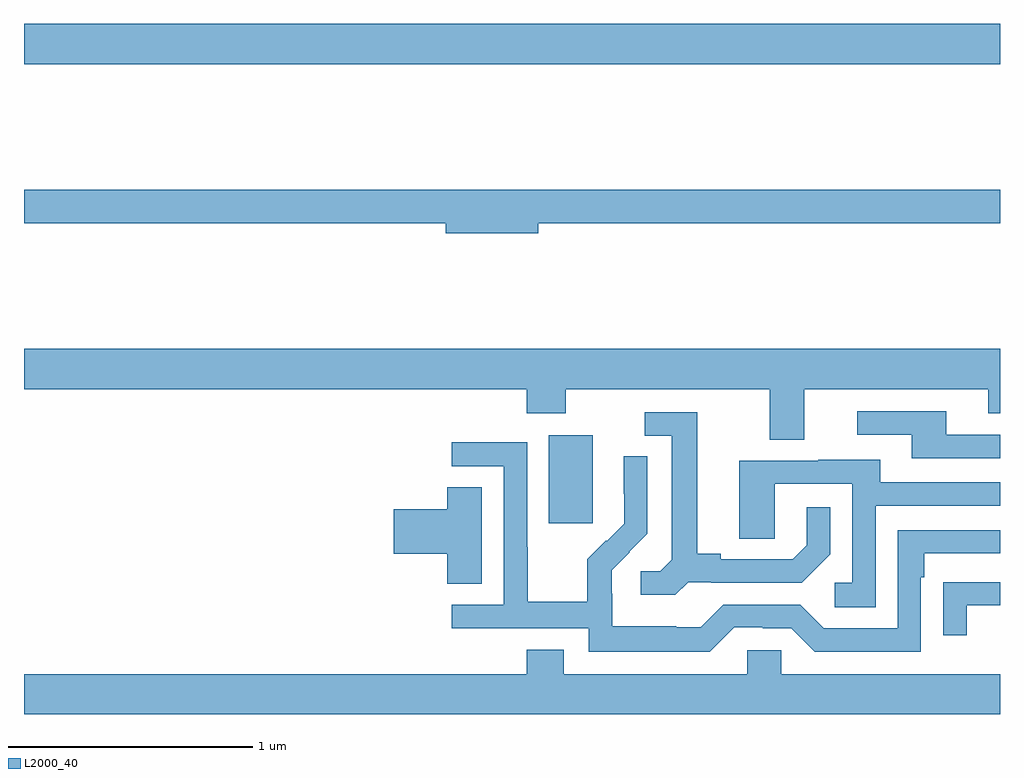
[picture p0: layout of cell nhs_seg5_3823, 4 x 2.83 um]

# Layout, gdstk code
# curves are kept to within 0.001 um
import gdstk
lib = gdstk.Library(unit=1e-6, precision=1e-09)
def R(c, l, rs):  # rectangles x0, y0, x1, y1
    for r in rs: c.add(gdstk.rectangle(r[:2], r[2:], *l))
def P(c, l, *ps):  # polygons
    for p in ps: c.add(gdstk.Polygon(p, *l))
L2000_40 = (2000, 40)

nhs_seg5_3823 = lib.new_cell('nhs_seg5_3823')
R(nhs_seg5_3823, L2000_40, [(337.151,904.161,337.33,904.522), (335,906.044,339,906.208)])
P(nhs_seg5_3823, L2000_40, [(337.108,905.392),(339,905.392),(339,905.528),(335,905.528),(335,905.392),(336.728,905.392),(336.728,905.35),(337.108,905.35)],
  [(338.197,904.712),(338.951,904.712),(338.951,904.613),(339,904.613),(339,904.876),(335,904.876),(335,904.712),(337.061,904.712),(337.061,904.613),(337.221,904.613),(337.221,904.712),(338.057,904.712),(338.057,904.504),(338.197,904.504)],
  [(339,904.524),(338.779,904.524),(338.779,904.62),(338.415,904.62),(338.415,904.524),(338.639,904.524),(338.639,904.428),(339,904.428)],
  [(337.722,903.921),(337.816,903.921),(337.816,903.918),(338.188,903.918),(338.304,904.034),(338.304,904.228),(338.207,904.228),(338.207,904.071),(338.15,904.014),(337.855,904.014),(337.855,904.037),(337.759,904.037),(337.759,904.617),(337.545,904.617),(337.545,904.521),(337.655,904.521),(337.655,904.013),(337.608,903.966),(337.527,903.966),(337.527,903.869),(337.67,903.869)],
  [(337.911,903.735),(338.027,903.735),(338.027,903.732),(338.145,903.732),(338.241,903.636),(338.676,903.636),(338.676,903.941),(338.689,903.941),(338.689,904.038),(339,904.038),(339,904.134),(338.58,904.134),(338.58,903.732),(338.277,903.732),(338.181,903.828),(337.866,903.828),(337.773,903.735),(337.673,903.735),(337.673,903.739),(337.41,903.739),(337.41,903.873),(337.408,903.873),(337.408,903.97),(337.554,904.118),(337.554,904.436),(337.458,904.436),(337.458,904.282),(337.46,904.282),(337.46,904.16),(337.389,904.089),(337.386,904.092),(337.309,904.015),(337.309,903.841),(337.065,903.841),(337.065,904.064),(337.062,904.064),(337.062,904.494),(336.753,904.494),(336.753,904.395),(336.966,904.395),(336.966,903.828),(336.753,903.828),(336.753,903.732),(337.314,903.732),(337.314,903.635),(337.811,903.635)],
  [(338.49,904.233),(339,904.233),(339,904.329),(338.509,904.329),(338.509,904.423),(338.255,904.423),(338.255,904.419),(337.931,904.419),(337.931,904.099),(338.076,904.099),(338.076,904.323),(338.394,904.323),(338.394,903.918),(338.322,903.918),(338.322,903.817),(338.49,903.817)],
  [(336.877,904.31),(336.734,904.31),(336.734,904.22),(336.516,904.22),(336.516,904.037),(336.734,904.037),(336.734,903.913),(336.877,903.913)],
  [(338.863,903.825),(339,903.825),(339,903.921),(338.869,903.921),(338.869,903.92),(338.767,903.92),(338.767,903.702),(338.863,903.702)],
  [(339,903.544),(338.103,903.544),(338.103,903.642),(337.965,903.642),(337.965,903.544),(337.213,903.544),(337.213,903.643),(337.061,903.643),(337.061,903.544),(335,903.544),(335,903.38),(339,903.38)])

lib.write_gds('nhs_seg5_3823.gds')
